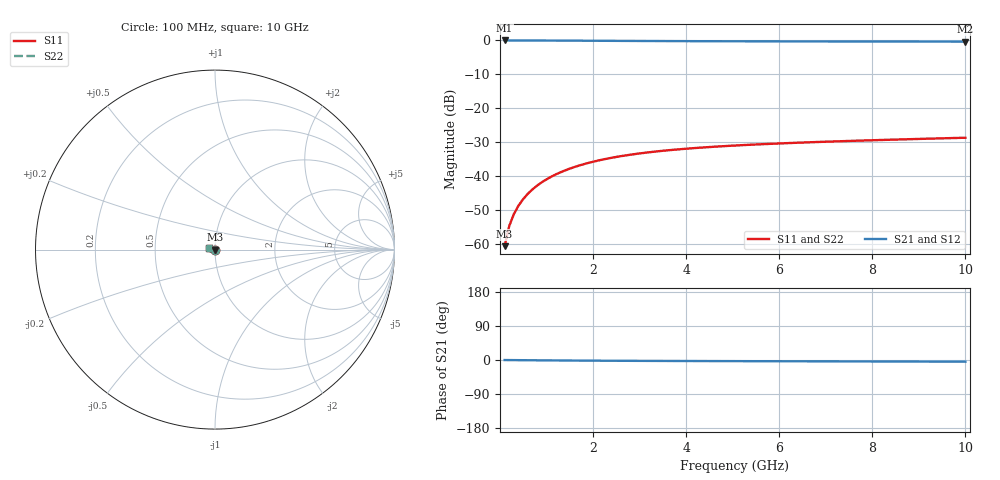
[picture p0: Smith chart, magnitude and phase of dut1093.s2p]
! Touchstone file exported from HFSS 2024.1.0
!  File:  C:/UserFiles/LocalFiles/RDL_TSV_Batchsim/temp_TSV1_1093_1780066552.aedt
!  Generated:  11:01:06 PM May 29, 2026
!  Design:  TSV1
!  Project:  temp_TSV1_1093_1780066552
!  Setup:  Setup1
!  Solution:  Sweep
! Variables:
!  dtsv = 9.47um
!  hbump = 3um
!  htsv = 66.43um
!  lrdl = 252.1521522um
!  p = 40
!  p1 = 53.1um
!  t = 500um
!  trdl = 3um
!  wrdl = 24.89489489um
# GHz S MA R 50.000000
! Terminal data exported
! Port[1] = TSV22_T1
! Port[2] = TSV22_T2
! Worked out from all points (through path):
!   100 points, 100 MHz to 10 GHz, reference 50 ohm
!   highest |S21| = 0.00 dB at 100 MHz (marker M1); lowest = -0.3 dB at 10 GHz (marker M2)
!   lowest |S11| = -60.5 dB at 100 MHz (marker M3), VSWR 1.00, Z = 50 - j0.0934 ohm
!   |S11| at or under -10 dB: start of sweep to end of sweep
!   |S22| runs from -60.5 to -28.6 dB; largest |S21 - S12| = 3.1e-15
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0.1  0.0009402 -83.1  0.9998 -0.1  0.9998 -0.1  0.0009402 -83.1
! Gamma 0 0 0 0
! Port Impedance 50 0 50 0
0.2  0.001868 -89.3  0.9997 -0.2  0.9997 -0.2  0.001868 -89.3
0.3  0.002798 -92.7  0.9995 -0.3  0.9995 -0.3  0.002798 -92.7
0.4  0.003725 -95.5  0.9993 -0.4  0.9993 -0.4  0.003725 -95.5
0.5  0.004644 -97.9  0.999 -0.5  0.999 -0.5  0.004644 -97.9
0.6  0.005552 -100.2  0.9986 -0.6  0.9986 -0.6  0.005552 -100.2
0.7  0.006448 -102.3  0.9982 -0.7  0.9982 -0.7  0.006448 -102.3
0.8  0.007329 -104.4  0.9978 -0.8  0.9978 -0.8  0.007329 -104.4
0.9  0.008195 -106.5  0.9973 -0.9  0.9973 -0.9  0.008195 -106.5
1.1  0.009874 -110.4  0.9961 -1.1  0.9961 -1.1  0.009874 -110.4
1.4  0.01225 -116.0  0.9942 -1.3  0.9942 -1.3  0.01225 -116.0
1.6  0.01373 -119.6  0.9928 -1.5  0.9928 -1.5  0.01373 -119.6
1.8  0.01512 -123.0  0.9913 -1.6  0.9913 -1.6  0.01512 -123.0
2.1  0.01704 -127.8  0.9891 -1.8  0.9891 -1.8  0.01704 -127.8
2.5  0.01932 -133.8  0.9861 -2.0  0.9861 -2.0  0.01932 -133.8
2.9  0.0213 -139.3  0.9833 -2.2  0.9833 -2.2  0.0213 -139.3
3.4  0.02342 -145.6  0.9801 -2.5  0.9801 -2.5  0.02342 -145.6
4.2  0.02615 -154.3  0.9758 -2.7  0.9758 -2.7  0.02615 -154.3
5.1  0.02855 -162.7  0.9719 -3.0  0.9719 -3.0  0.02855 -162.7
6.7  0.03183 -174.8  0.9671 -3.5  0.9671 -3.5  0.03183 -174.8
8.4  0.03464 174.8  0.9637 -4.0  0.9637 -4.0  0.03464 174.8
10  0.03704 166.7  0.9616 -4.4  0.9616 -4.4  0.03704 166.7
